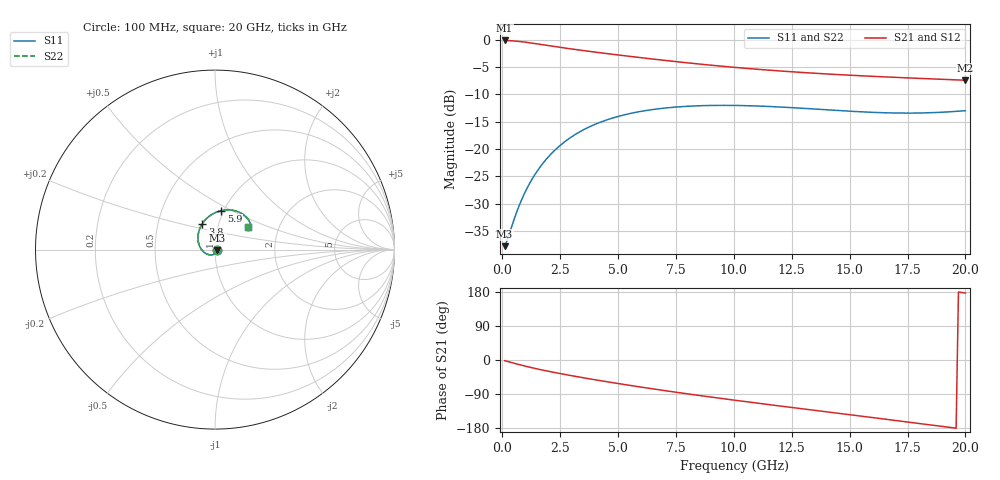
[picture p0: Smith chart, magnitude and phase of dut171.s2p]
! Created with skrf 1.9.0 (http://scikit-rf.org).
# GHz S RI R 50.0
!freq ReS11 ImS11 ReS21 ImS21 ReS12 ImS12 ReS22 ImS22
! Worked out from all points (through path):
!   200 points, 100 MHz to 20 GHz, reference 50 ohm
!   highest |S21| = -0.11 dB at 100 MHz (marker M1); lowest = -7.4 dB at 20 GHz (marker M2)
!   group delay of S21, straight-line fit = 23.9 ps
!   lowest |S11| = -37.8 dB at 100 MHz (marker M3), VSWR 1.03, Z = 51.2 - j0.461 ohm
!   |S11| at or under -10 dB: start of sweep to end of sweep
!   |S22| runs from -37.8 to -12.0 dB; largest |S21 - S12| = 2.5e-15
!   S11 on the Smith chart (normalised r, x): 100 MHz: 1.02, -0.01; 3.8 GHz: 0.84, +0.25; 5.9 GHz: 0.97, +0.44; 20 GHz: 1.40, +0.37
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0.1  0.0121 -0.0045  0.9865 -0.03  0.9865 -0.03  0.0121 -0.0045
0.2  0.0108 -0.00966  0.9837 -0.059  0.9837 -0.059  0.0108 -0.00966
0.6  -0.00405 -0.0255  0.9578 -0.1701  0.9578 -0.1701  -0.00405 -0.0255
0.8  -0.0157 -0.0291  0.9373 -0.2207  0.9373 -0.2207  -0.0157 -0.0291
1.1  -0.0354 -0.028  0.9 -0.2889  0.9 -0.2889  -0.0354 -0.028
1.5  -0.0608 -0.0149  0.8429 -0.3655  0.8429 -0.3655  -0.0608 -0.0149
1.9  -0.0804 0.00835  0.7825 -0.4277  0.7825 -0.4277  -0.0804 0.00835
2.4  -0.0934 0.045  0.7065 -0.4895  0.7065 -0.4895  -0.0934 0.045
2.9  -0.0937 0.0837  0.632 -0.5379  0.632 -0.5379  -0.0937 0.0837
3.5  -0.0806 0.1266  0.5449 -0.5822  0.5449 -0.5822  -0.0806 0.1266
3.8  -0.07 0.1453  0.5024 -0.5996  0.5024 -0.5996  -0.07 0.1453
4.8  -0.0231 0.1922  0.3662 -0.6381  0.3662 -0.6381  -0.0231 0.1922
5.9  0.035 0.217  0.2282 -0.651  0.2282 -0.651  0.035 0.217
6.8  0.0793 0.221  0.1263 -0.6437  0.1263 -0.6437  0.0793 0.221
8.4  0.1411 0.2051  -0.0288 -0.6028  -0.0288 -0.6028  0.1411 0.2051
10.1  0.1805 0.1743  -0.1595 -0.535  -0.1595 -0.535  0.1805 0.1743
11.7  0.197 0.1451  -0.2553 -0.458  -0.2553 -0.458  0.197 0.1451
13.4  0.1994 0.1213  -0.3329 -0.3675  -0.3329 -0.3675  0.1994 0.1213
15.1  0.1934 0.1083  -0.3884 -0.2706  -0.3884 -0.2706  0.1934 0.1083
16.7  0.1863 0.1065  -0.4212 -0.1753  -0.4212 -0.1753  0.1863 0.1065
18.4  0.1826 0.1136  -0.4344 -0.072  -0.4344 -0.072  0.1826 0.1136
20  0.1865 0.1253  -0.426 0.0235  -0.426 0.0235  0.1865 0.1253
